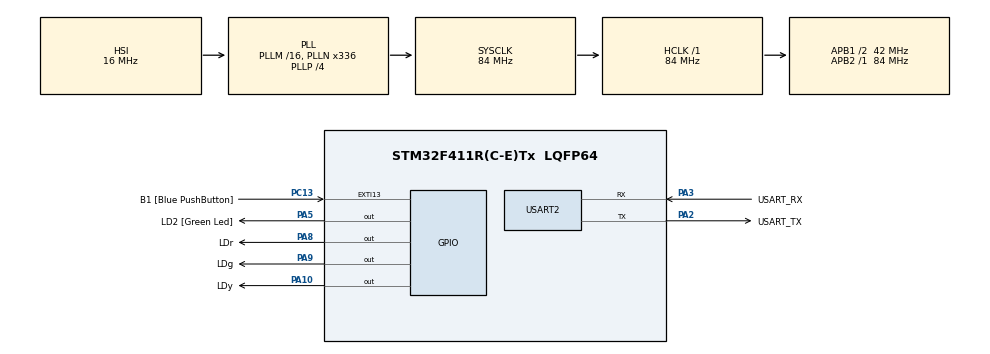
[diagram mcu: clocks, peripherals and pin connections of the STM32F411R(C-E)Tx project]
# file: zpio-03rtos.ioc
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FREERTOS.BinarySemaphores01=myBinarySem01,Dynamic,NULL
FREERTOS.Tasks01=defaultTask,0,128,StartDefaultTask,Default,NULL,Dynamic,NULL,NULL;myTask02,-3,128,StartTask02,Default,NULL,Dynamic,NULL,NULL;myTask03,-3,128,StartTask03,Default,NULL,Dynamic,NULL,NULL
FREERTOS.configUSE_NEWLIB_REENTRANT=1
Mcu.Family=STM32F4
Mcu.Name=STM32F411R(C-E)Tx
Mcu.Package=LQFP64
NVIC.EXTI15_10_IRQn=true\:5\:0\:false\:false\:true\:true\:true\:true\:true
NVIC.PriorityGroup=NVIC_PRIORITYGROUP_4
NVIC.TIM1_TRG_COM_TIM11_IRQn=true\:15\:0\:false\:false\:true\:false\:false\:true\:true
NVIC.TimeBase=TIM1_TRG_COM_TIM11_IRQn
NVIC.TimeBaseIP=TIM11
PA10.GPIO_Label=LDy
PA10.Signal=GPIO_Output
PA13.GPIO_Label=TMS
PA13.Mode=Serial_Wire
PA13.Signal=SYS_JTMS-SWDIO
PA14.GPIO_Label=TCK
PA14.Mode=Serial_Wire
PA14.Signal=SYS_JTCK-SWCLK
PA2.GPIO_Label=USART_TX
PA2.Mode=Asynchronous
PA2.Signal=USART2_TX
PA3.GPIO_Label=USART_RX
PA3.Mode=Asynchronous
PA3.Signal=USART2_RX
PA5.GPIO_Label=LD2 [Green Led]
PA5.Signal=GPIO_Output
PA8.GPIO_Label=LDr
PA8.Signal=GPIO_Output
PA9.GPIO_Label=LDg
PA9.Signal=GPIO_Output
PB3.GPIO_Label=SWO
PB3.Signal=SYS_JTDO-SWO
PC13-ANTI_TAMP.GPIO_Label=B1 [Blue PushButton]
PC13-ANTI_TAMP.GPIO_ModeDefaultEXTI=GPIO_MODE_IT_FALLING
PC13-ANTI_TAMP.Signal=GPXTI13
PC14-OSC32_IN.Mode=LSE-External-Oscillator
PC14-OSC32_IN.Signal=RCC_OSC32_IN
PC15-OSC32_OUT.Mode=LSE-External-Oscillator
PC15-OSC32_OUT.Signal=RCC_OSC32_OUT
PH0\ -\ OSC_IN.Mode=HSE-External-Clock-Source
PH0\ -\ OSC_IN.Signal=RCC_OSC_IN
PH1\ -\ OSC_OUT.Mode=HSE-External-Clock-Source
PH1\ -\ OSC_OUT.Signal=RCC_OSC_OUT
ProjectManager.HeapSize=0x200
ProjectManager.StackSize=0x400
ProjectManager.TargetToolchain=STM32CubeIDE
RCC.48MHZClocksFreq_Value=84000000
RCC.AHBFreq_Value=84000000
RCC.APB1CLKDivider=RCC_HCLK_DIV2
RCC.APB1Freq_Value=42000000
RCC.APB1TimFreq_Value=84000000
RCC.APB2Freq_Value=84000000
RCC.APB2TimFreq_Value=84000000
RCC.CortexFreq_Value=84000000
RCC.FLatency-AdvancedSettings=FLASH_LATENCY_2
RCC.HCLKFreq_Value=84000000
RCC.HSE_VALUE=8000000
RCC.HSI_VALUE=16000000
RCC.PLLN=336
RCC.PLLP=RCC_PLLP_DIV4
RCC.SYSCLKFreq_VALUE=84000000
RCC.SYSCLKSource=RCC_SYSCLKSOURCE_PLLCLK
RCC.VCOOutputFreq_Value=336000000
USART2.VirtualMode=VM_ASYNC
VP_FREERTOS_VS_CMSIS_V1.Mode=CMSIS_V1
VP_SYS_VS_tim11.Mode=TIM11
board=NUCLEO-F411RE

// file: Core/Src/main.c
/* USER CODE BEGIN Header */
/**
  ******************************************************************************
  * @file           : main.c
  * @brief          : Main program body
  ******************************************************************************
  * @attention
  *
  * Copyright (c) 2023 STMicroelectronics.
  * All rights reserved.
  *
  * This software is licensed under terms that can be found in the LICENSE file
  * in the root directory of this software component.
  * If no LICENSE file comes with this software, it is provided AS-IS.
  *
  ******************************************************************************
  */
/* USER CODE END Header */
#include "main.h"
#include "cmsis_os.h"

UART_HandleTypeDef huart2;

osThreadId defaultTaskHandle;
osThreadId myTask02Handle;
osThreadId myTask03Handle;
osSemaphoreId myBinarySem01Handle;
/* USER CODE BEGIN PV */
#include "../../../myLib/myLib.c"
/* USER CODE END PV */

void SystemClock_Config(void);
static void MX_GPIO_Init(void);
static void MX_USART2_UART_Init(void);
void StartDefaultTask(void const * argument);
void StartTask02(void const * argument);
void StartTask03(void const * argument);

/* USER CODE BEGIN 0 */
void HAL_GPIO_EXTI_Callback(uint16_t GPIO_Pin)
{
  osSemaphoreRelease(myBinarySem01Handle);
}
/* USER CODE END 0 */

int main(void)
{

  /* MCU Configuration--------------------------------------------------------*/

  /* Reset of all peripherals, Initializes the Flash interface and the Systick. */
  HAL_Init();

  /* Configure the system clock */
  SystemClock_Config();

  /* Initialize all configured peripherals */
  MX_GPIO_Init();
  MX_USART2_UART_Init();
  /* USER CODE BEGIN 2 */
  printf("\033[1J\033[1;1HRTOS TEST");
  /* USER CODE END 2 */

  /* Create the semaphores(s) */
  /* definition and creation of myBinarySem01 */
  osSemaphoreDef(myBinarySem01);
  myBinarySem01Handle = osSemaphoreCreate(osSemaphore(myBinarySem01), 1);

  /* Create the thread(s) */
  /* definition and creation of defaultTask */
  osThreadDef(defaultTask, StartDefaultTask, osPriorityNormal, 0, 128);
  defaultTaskHandle = osThreadCreate(osThread(defaultTask), NULL);

  /* definition and creation of myTask02 */
  osThreadDef(myTask02, StartTask02, osPriorityIdle, 0, 128);
  myTask02Handle = osThreadCreate(osThread(myTask02), NULL);

  /* definition and creation of myTask03 */
  osThreadDef(myTask03, StartTask03, osPriorityIdle, 0, 128);
  myTask03Handle = osThreadCreate(osThread(myTask03), NULL);

  /* Start scheduler */
  osKernelStart();

  /* We should never get here as control is now taken by the scheduler */
  /* Infinite loop */
  while (1)
  {

    /* USER CODE BEGIN 3 */
    //printf("in Main procedure...%d\r\n",n++);

  }
  /* USER CODE END 3 */
}

void SystemClock_Config(void)
{
  RCC_OscInitTypeDef RCC_OscInitStruct = {0};
  RCC_ClkInitTypeDef RCC_ClkInitStruct = {0};

  /** Configure the main internal regulator output voltage
  */
  __HAL_RCC_PWR_CLK_ENABLE();
  __HAL_PWR_VOLTAGESCALING_CONFIG(PWR_REGULATOR_VOLTAGE_SCALE1);

  /** Initializes the RCC Oscillators according to the specified parameters
  * in the RCC_OscInitTypeDef structure.
  */
  RCC_OscInitStruct.OscillatorType = RCC_OSCILLATORTYPE_HSI;
  RCC_OscInitStruct.HSIState = RCC_HSI_ON;
  RCC_OscInitStruct.HSICalibrationValue = RCC_HSICALIBRATION_DEFAULT;
  RCC_OscInitStruct.PLL.PLLState = RCC_PLL_ON;
  RCC_OscInitStruct.PLL.PLLSource = RCC_PLLSOURCE_HSI;
  RCC_OscInitStruct.PLL.PLLM = 16;
  RCC_OscInitStruct.PLL.PLLN = 336;
  RCC_OscInitStruct.PLL.PLLP = RCC_PLLP_DIV4;
  RCC_OscInitStruct.PLL.PLLQ = 4;
  if (HAL_RCC_OscConfig(&RCC_OscInitStruct) != HAL_OK)
  {
    Error_Handler();
  }

  /** Initializes the CPU, AHB and APB buses clocks
  */
  RCC_ClkInitStruct.ClockType = RCC_CLOCKTYPE_HCLK|RCC_CLOCKTYPE_SYSCLK
                              |RCC_CLOCKTYPE_PCLK1|RCC_CLOCKTYPE_PCLK2;
  RCC_ClkInitStruct.SYSCLKSource = RCC_SYSCLKSOURCE_PLLCLK;
  RCC_ClkInitStruct.AHBCLKDivider = RCC_SYSCLK_DIV1;
  RCC_ClkInitStruct.APB1CLKDivider = RCC_HCLK_DIV2;
  RCC_ClkInitStruct.APB2CLKDivider = RCC_HCLK_DIV1;

  if (HAL_RCC_ClockConfig(&RCC_ClkInitStruct, FLASH_LATENCY_2) != HAL_OK)
  {
    Error_Handler();
  }
}

static void MX_USART2_UART_Init(void)
{

  huart2.Instance = USART2;
  huart2.Init.BaudRate = 115200;
  huart2.Init.WordLength = UART_WORDLENGTH_8B;
  huart2.Init.StopBits = UART_STOPBITS_1;
  huart2.Init.Parity = UART_PARITY_NONE;
  huart2.Init.Mode = UART_MODE_TX_RX;
  huart2.Init.HwFlowCtl = UART_HWCONTROL_NONE;
  huart2.Init.OverSampling = UART_OVERSAMPLING_16;
  if (HAL_UART_Init(&huart2) != HAL_OK)
  {
    Error_Handler();
  }

}

static void MX_GPIO_Init(void)
{
  GPIO_InitTypeDef GPIO_InitStruct = {0};

  /* GPIO Ports Clock Enable */
  __HAL_RCC_GPIOC_CLK_ENABLE();
  __HAL_RCC_GPIOH_CLK_ENABLE();
  __HAL_RCC_GPIOA_CLK_ENABLE();
  __HAL_RCC_GPIOB_CLK_ENABLE();

  /*Configure GPIO pin Output Level */
  HAL_GPIO_WritePin(GPIOA, LD2_Pin|LDr_Pin|LDg_Pin|LDy_Pin, GPIO_PIN_RESET);

  /*Configure GPIO pin : B1_Pin */
  GPIO_InitStruct.Pin = B1_Pin;
  GPIO_InitStruct.Mode = GPIO_MODE_IT_FALLING;
  GPIO_InitStruct.Pull = GPIO_NOPULL;
  HAL_GPIO_Init(B1_GPIO_Port, &GPIO_InitStruct);

  /*Configure GPIO pins : LD2_Pin LDr_Pin LDg_Pin LDy_Pin */
  GPIO_InitStruct.Pin = LD2_Pin|LDr_Pin|LDg_Pin|LDy_Pin;
  GPIO_InitStruct.Mode = GPIO_MODE_OUTPUT_PP;
  GPIO_InitStruct.Pull = GPIO_NOPULL;
  GPIO_InitStruct.Speed = GPIO_SPEED_FREQ_LOW;
  HAL_GPIO_Init(GPIOA, &GPIO_InitStruct);

  /* EXTI interrupt init*/
  HAL_NVIC_SetPriority(EXTI15_10_IRQn, 5, 0);
  HAL_NVIC_EnableIRQ(EXTI15_10_IRQn);

}

void StartDefaultTask(void const * argument)
{
  /* USER CODE BEGIN 5 */
  /* Infinite loop */
  int n=0;
  for(;;)
  {
    //HAL_GPIO_TogglePin(LDr_GPIO_Port, LDr_Pin);
    if (osSemaphoreWait (myBinarySem01Handle, 10) == osOK)
    {
      HAL_GPIO_WritePin(LDr_GPIO_Port, LDr_Pin,1);
      HAL_Delay(100);
      HAL_GPIO_WritePin(LDr_GPIO_Port, LDr_Pin,0);
      HAL_Delay(100);
      osSemaphoreRelease(myBinarySem01Handle);
      //printf ("\033[5;1Hin task 01....%d\r\n", n++);
    }
    osDelay (10);
  }
  /* USER CODE END 5 */
}

void StartTask02(void const * argument)
{
  /* USER CODE BEGIN StartTask02 */
  /* Infinite loop */
  int n=0;
  for(;;)
   {
     //HAL_GPIO_TogglePin(LDr_GPIO_Port, LDr_Pin);
     if (osSemaphoreWait (myBinarySem01Handle, 10) == osOK)
     {
       HAL_GPIO_WritePin(LDg_GPIO_Port, LDg_Pin,1);
       HAL_Delay(100);
       HAL_GPIO_WritePin(LDg_GPIO_Port, LDg_Pin,0);
       HAL_Delay(100);
       //printf ("\033[6;1Hin task 01....%d\r\n", n++);
       osSemaphoreRelease(myBinarySem01Handle);
     }
     osDelay (10);
   }
  /* USER CODE END StartTask02 */
}

void StartTask03(void const * argument)
{
  /* USER CODE BEGIN StartTask03 */
  /* Infinite loop */
  int n=0;
  for(;;)
   {
     //HAL_GPIO_TogglePin(LDr_GPIO_Port, LDr_Pin);
     if (osSemaphoreWait (myBinarySem01Handle, 10) == osOK)
     {
       HAL_GPIO_WritePin(LDy_GPIO_Port, LDy_Pin,1);
       HAL_Delay(100);
       HAL_GPIO_WritePin(LDy_GPIO_Port, LDy_Pin,0);
       HAL_Delay(100);
       //printf ("\033[7;1Hin task 01....%d\r\n", n++);
       osSemaphoreRelease(myBinarySem01Handle);
     }
     osDelay (10);
   }
  /* USER CODE END StartTask03 */
}

void HAL_TIM_PeriodElapsedCallback(TIM_HandleTypeDef *htim)
{
  if (htim->Instance == TIM11) {
    HAL_IncTick();
  }
}

void Error_Handler(void)
{
  __disable_irq();
  while (1)
  {
  }
}
